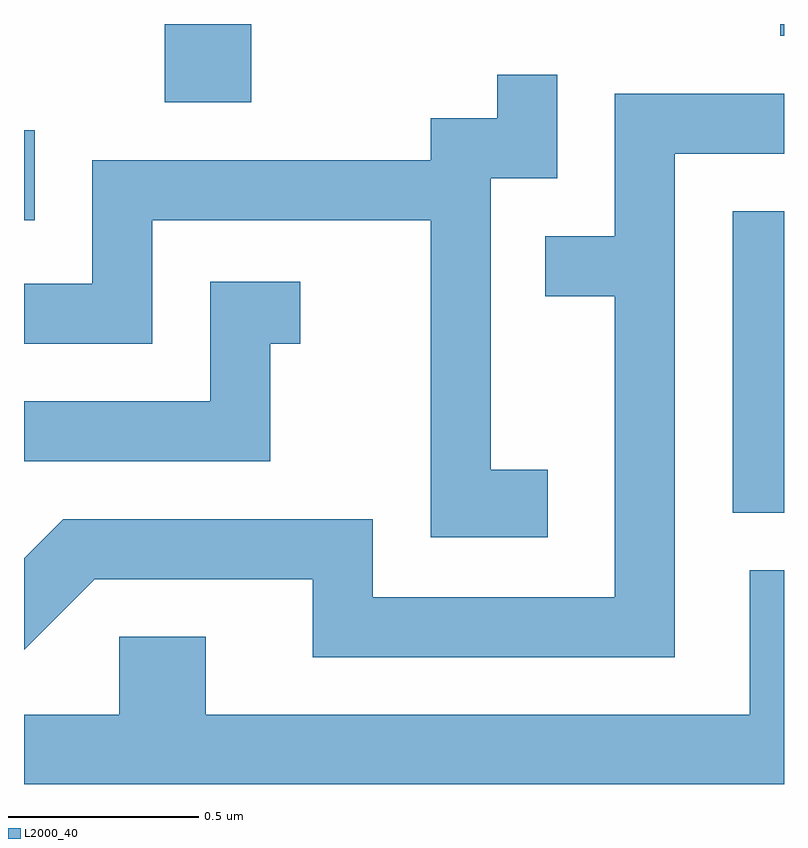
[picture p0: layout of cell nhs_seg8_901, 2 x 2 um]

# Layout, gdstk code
import gdstk
lib = gdstk.Library(unit=1e-6, precision=1e-09)
def R(c, l, rs):  # rectangles x0, y0, x1, y1
    for r in rs: c.add(gdstk.rectangle(r[:2], r[2:], *l))
def P(c, l, *ps):  # polygons
    for p in ps: c.add(gdstk.Polygon(p, *l))
L2000_40 = (2000, 40)

nhs_seg8_901 = lib.new_cell('nhs_seg8_901')
R(nhs_seg8_901, L2000_40, [(193.476,1886.056,193.611,1886.849), (191.611,1886.826,191.639,1887.063), (191.981,1887.136,192.209,1887.342), (193.601,1887.311,193.611,1887.342)])
P(nhs_seg8_901, L2000_40, [(192.989,1886.169),(192.839,1886.169),(192.839,1886.936),(193.014,1886.936),(193.014,1887.208),(192.856,1887.208),(192.856,1887.094),(192.681,1887.094),(192.681,1886.984),(191.791,1886.984),(191.791,1886.659),(191.611,1886.659),(191.611,1886.501),(191.949,1886.501),(191.949,1886.826),(192.681,1886.826),(192.681,1885.991),(192.989,1885.991)],
  [(193.324,1887.001),(193.611,1887.001),(193.611,1887.159),(193.166,1887.159),(193.166,1886.784),(192.983,1886.784),(192.983,1886.626),(193.166,1886.626),(193.166,1885.834),(192.529,1885.834),(192.529,1886.039),(191.714,1886.039),(191.611,1885.936),(191.611,1885.695),(191.797,1885.881),(192.371,1885.881),(192.371,1885.676),(193.324,1885.676)],
  [(192.259,1886.501),(192.338,1886.501),(192.338,1886.664),(192.101,1886.664),(192.101,1886.349),(191.611,1886.349),(191.611,1886.191),(192.259,1886.191)],
  [(193.611,1885.904),(193.521,1885.904),(193.521,1885.524),(192.089,1885.524),(192.089,1885.729),(191.861,1885.729),(191.861,1885.524),(191.611,1885.524),(191.611,1885.342),(193.611,1885.342)])

lib.write_gds('nhs_seg8_901.gds')
